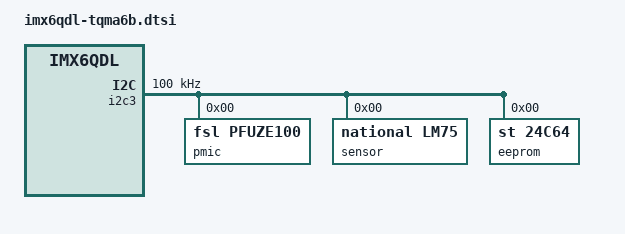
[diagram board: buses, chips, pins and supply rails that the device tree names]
// SPDX-License-Identifier: GPL-2.0-or-later
/*
 * Copyright 2013 Sascha Hauer, Pengutronix
 * Copyright 2013-2017 Markus Niebel <Markus.Niebel@tq-group.com>
 */

&i2c3 {
	pinctrl-names = "default";
	pinctrl-0 = <&pinctrl_i2c3>;
	clock-frequency = <100000>;
	status = "okay";

	pmic: pmic@8 {
		compatible = "fsl,pfuze100";
		reg = <0 0x08 0 0x1>;
	};

	sensor@48 {
		compatible = "national,lm75";
		reg = <0 0x48 0 0x1>;
	};

	eeprom@50 {
		compatible = "st,24c64", "atmel,24c64";
		reg = <0 0x50 0 0x1>;
		pagesize = <32>;
	};
};
